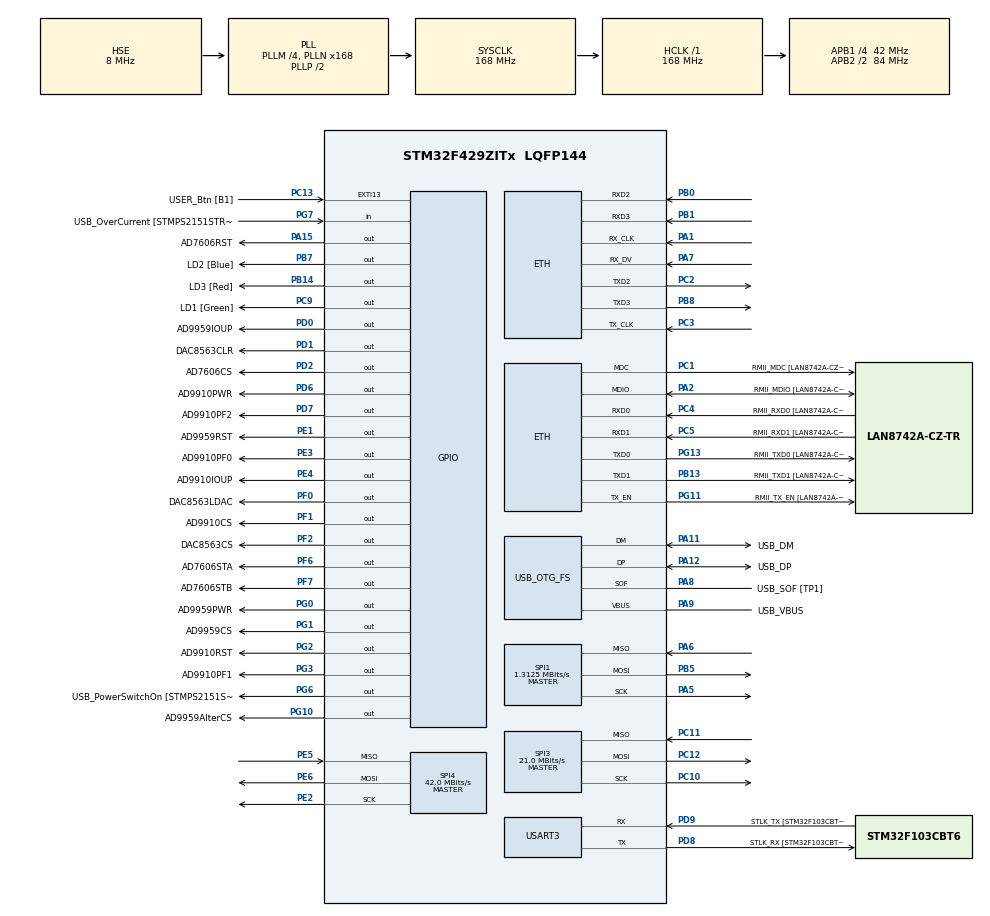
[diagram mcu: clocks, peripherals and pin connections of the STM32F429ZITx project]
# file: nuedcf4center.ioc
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ETH.MediaInterface=ETH_MEDIA_INTERFACE_MII
ETH.PHY_Name=LAN8742A_PHY_ADDRESS
ETH.PHY_Value=0
ETH.PhyAddress=0
Mcu.Family=STM32F4
Mcu.Name=STM32F429ZITx
Mcu.Package=LQFP144
NVIC.PriorityGroup=NVIC_PRIORITYGROUP_4
PA1.Mode=MII Full Duplex Only
PA1.Signal=ETH_RX_CLK
PA10.GPIO_Label=USB_ID
PA10.Signal=USB_OTG_FS_ID
PA11.GPIO_Label=USB_DM
PA11.Mode=Device_Only
PA11.Signal=USB_OTG_FS_DM
PA12.GPIO_Label=USB_DP
PA12.Mode=Device_Only
PA12.Signal=USB_OTG_FS_DP
PA13.GPIO_Label=TMS
PA13.Mode=Serial_Wire
PA13.Signal=SYS_JTMS-SWDIO
PA14.GPIO_Label=TCK
PA14.Mode=Serial_Wire
PA14.Signal=SYS_JTCK-SWCLK
PA15.GPIO_Label=AD7606RST
PA15.Signal=GPIO_Output
PA2.GPIO_Label=RMII_MDIO [LAN8742A-CZ-TR_MDIO]
PA2.Mode=MII Full Duplex Only
PA2.Signal=ETH_MDIO
PA5.Mode=Full_Duplex_Master
PA5.Signal=SPI1_SCK
PA6.Mode=Full_Duplex_Master
PA6.Signal=SPI1_MISO
PA7.Mode=MII Full Duplex Only
PA7.Signal=ETH_RX_DV
PA8.GPIO_Label=USB_SOF [TP1]
PA8.Mode=Activate_SOF_FS
PA8.Signal=USB_OTG_FS_SOF
PA9.GPIO_Label=USB_VBUS
PA9.Mode=Activate_VBUS
PA9.Signal=USB_OTG_FS_VBUS
PB0.Mode=MII Full Duplex Only
PB0.Signal=ETH_RXD2
PB1.Mode=MII Full Duplex Only
PB1.Signal=ETH_RXD3
PB13.GPIO_Label=RMII_TXD1 [LAN8742A-CZ-TR_TXD1]
PB13.Mode=MII Full Duplex Only
PB13.Signal=ETH_TXD1
PB14.GPIO_Label=LD3 [Red]
PB14.Signal=GPIO_Output
PB5.Mode=Full_Duplex_Master
PB5.Signal=SPI1_MOSI
PB7.GPIO_Label=LD2 [Blue]
PB7.Signal=GPIO_Output
PB8.Mode=MII Full Duplex Only
PB8.Signal=ETH_TXD3
PC1.GPIO_Label=RMII_MDC [LAN8742A-CZ-TR_MDC]
PC1.Mode=MII Full Duplex Only
PC1.Signal=ETH_MDC
PC10.Mode=Full_Duplex_Master
PC10.Signal=SPI3_SCK
PC11.Mode=Full_Duplex_Master
PC11.Signal=SPI3_MISO
PC12.Mode=Full_Duplex_Master
PC12.Signal=SPI3_MOSI
PC13.GPIO_Label=USER_Btn [B1]
PC13.Signal=GPXTI13
PC14/OSC32_IN.Mode=LSE-External-Oscillator
PC14/OSC32_IN.Signal=RCC_OSC32_IN
PC15/OSC32_OUT.Mode=LSE-External-Oscillator
PC15/OSC32_OUT.Signal=RCC_OSC32_OUT
PC2.Mode=MII Full Duplex Only
PC2.Signal=ETH_TXD2
PC3.Mode=MII Full Duplex Only
PC3.Signal=ETH_TX_CLK
PC4.GPIO_Label=RMII_RXD0 [LAN8742A-CZ-TR_RXD0]
PC4.Mode=MII Full Duplex Only
PC4.Signal=ETH_RXD0
PC5.GPIO_Label=RMII_RXD1 [LAN8742A-CZ-TR_RXD1]
PC5.Mode=MII Full Duplex Only
PC5.Signal=ETH_RXD1
PC9.GPIO_Label=LD1 [Green]
PC9.Signal=GPIO_Output
PD0.GPIO_Label=AD9959IOUP
PD0.Signal=GPIO_Output
PD1.GPIO_Label=DAC8563CLR
PD1.Signal=GPIO_Output
PD2.GPIO_Label=AD7606CS
PD2.Signal=GPIO_Output
PD6.GPIO_Label=AD9910PWR
PD6.Signal=GPIO_Output
PD7.GPIO_Label=AD9910PF2
PD7.Signal=GPIO_Output
PD8.GPIO_Label=STLK_RX [STM32F103CBT6_PA3]
PD8.Mode=Asynchronous
PD8.Signal=USART3_TX
PD9.GPIO_Label=STLK_TX [STM32F103CBT6_PA2]
PD9.Mode=Asynchronous
PD9.Signal=USART3_RX
PE1.GPIO_Label=AD9959RST
PE1.Signal=GPIO_Output
PE2.Mode=Full_Duplex_Master
PE2.Signal=SPI4_SCK
PE3.GPIO_Label=AD9910PF0
PE3.Signal=GPIO_Output
PE4.GPIO_Label=AD9910IOUP
PE4.Signal=GPIO_Output
PE5.Mode=Full_Duplex_Master
PE5.Signal=SPI4_MISO
PE6.Mode=Full_Duplex_Master
PE6.Signal=SPI4_MOSI
PF0.GPIO_Label=DAC8563LDAC
PF0.Signal=GPIO_Output
PF1.GPIO_Label=AD9910CS
PF1.Signal=GPIO_Output
PF2.GPIO_Label=DAC8563CS
PF2.Signal=GPIO_Output
PF6.GPIO_Label=AD7606STA
PF6.Signal=GPIO_Output
PF7.GPIO_Label=AD7606STB
PF7.Signal=GPIO_Output
PG0.GPIO_Label=AD9959PWR
PG0.Signal=GPIO_Output
PG1.GPIO_Label=AD9959CS
PG1.Signal=GPIO_Output
PG10.GPIO_Label=AD9959AlterCS
PG10.Signal=GPIO_Output
PG11.GPIO_Label=RMII_TX_EN [LAN8742A-CZ-TR_TXEN]
PG11.Mode=MII Full Duplex Only
PG11.Signal=ETH_TX_EN
PG13.GPIO_Label=RMII_TXD0 [LAN8742A-CZ-TR_TXD0]
PG13.Mode=MII Full Duplex Only
PG13.Signal=ETH_TXD0
PG2.GPIO_Label=AD9910RST
PG2.Signal=GPIO_Output
PG3.GPIO_Label=AD9910PF1
PG3.Signal=GPIO_Output
PG6.GPIO_Label=USB_PowerSwitchOn [STMPS2151STR_EN]
PG6.Signal=GPIO_Output
PG7.GPIO_Label=USB_OverCurrent [STMPS2151STR_FAULT]
PG7.Signal=GPIO_Input
PH0/OSC_IN.GPIO_Label=MCO [STM32F103CBT6_PA8]
PH0/OSC_IN.Mode=HSE-External-Clock-Source
PH0/OSC_IN.Signal=RCC_OSC_IN
PH1/OSC_OUT.Mode=HSE-External-Clock-Source
PH1/OSC_OUT.Signal=RCC_OSC_OUT
ProjectManager.HeapSize=0x200
ProjectManager.StackSize=0x400
ProjectManager.TargetToolchain=TrueSTUDIO
RCC.48MHZClocksFreq_Value=48000000
RCC.AHBFreq_Value=168000000
RCC.APB1CLKDivider=RCC_HCLK_DIV4
RCC.APB1Freq_Value=42000000
RCC.APB1TimFreq_Value=84000000
RCC.APB2CLKDivider=RCC_HCLK_DIV2
RCC.APB2Freq_Value=84000000
RCC.APB2TimCLKDivider=2
RCC.APB2TimFreq_Value=168000000
RCC.CortexFreq_Value=168000000
RCC.HCLKFreq_Value=168000000
RCC.HSE_VALUE=8000000
RCC.HSI_VALUE=16000000
RCC.PLLM=4
RCC.PLLMUL=RCC_PLL_MUL9
RCC.PLLN=168
RCC.PLLQ=7
RCC.PRESCALERUSB=RCC_USBCLKSOURCE_PLL_DIV1_5
RCC.SYSCLKFreq_VALUE=168000000
RCC.SYSCLKSource=RCC_SYSCLKSOURCE_PLLCLK
RCC.SYSCLKSourceVirtual=RCC_SYSCLKSOURCE_PLLCLK
RCC.USBFreq_Value=48000000
RCC.VCOOutputFreq_Value=336000000
SPI1.BaudRatePrescaler=SPI_BAUDRATEPRESCALER_64
SPI1.CLKPhase=SPI_PHASE_1EDGE
SPI1.CalculateBaudRate=1.3125 MBits/s
SPI1.Direction=SPI_DIRECTION_2LINES
SPI1.Mode=SPI_MODE_MASTER
SPI1.VirtualType=VM_MASTER
SPI3.CalculateBaudRate=21.0 MBits/s
SPI3.Direction=SPI_DIRECTION_2LINES
SPI3.Mode=SPI_MODE_MASTER
SPI3.VirtualType=VM_MASTER
SPI4.CalculateBaudRate=42.0 MBits/s
SPI4.Direction=SPI_DIRECTION_2LINES
SPI4.Mode=SPI_MODE_MASTER
SPI4.VirtualType=VM_MASTER
USART3.VirtualMode=VM_ASYNC
USB_OTG_FS.VirtualMode=Device_Only
board=NUCLEO-F429ZI

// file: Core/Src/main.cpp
/* USER CODE BEGIN Header */
/**
  ******************************************************************************
  * @file           : main.c
  * @brief          : Main program body
  ******************************************************************************
  * @attention
  *
  * <h2><center>&copy; Copyright (c) 2019 STMicroelectronics.
  * All rights reserved.</center></h2>
  *
  * This software component is licensed by ST under BSD 3-Clause license,
  * the "License"; You may not use this file except in compliance with the
  * License. You may obtain a copy of the License at:
  *                        opensource.org/licenses/BSD-3-Clause
  *
  ******************************************************************************
  */
/* USER CODE END Header */

#include "main.h"
#include "eth.h"
#include "spi.h"
#include "usart.h"
#include "usb_otg.h"
#include "gpio.h"

/* USER CODE BEGIN Includes */
#include "GPIOBridge.h"
#include "SPIBridge.h"
#include "AD7606Driver.hpp"
#include "AD9910Driver.hpp"
#include "DAC8563Driver.hpp"
#include "AD9959Driver.hpp"
#include <cstdio>

/* USER CODE END Includes */

/* USER CODE BEGIN PD */
extern SPI_HandleTypeDef hspi1;

/* USER CODE END PD */

void SystemClock_Config(void);

int main(void)
{

  /* MCU Configuration--------------------------------------------------------*/

  /* Reset of all peripherals, Initializes the Flash interface and the Systick. */
  HAL_Init();

  /* Configure the system clock */
  SystemClock_Config();

  /* Initialize all configured peripherals */
  MX_GPIO_Init();
  MX_ETH_Init();
  MX_USART3_UART_Init();
  MX_USB_OTG_FS_PCD_Init();
  MX_SPI1_Init();
  MX_SPI3_Init();
  MX_SPI4_Init();
  /* USER CODE BEGIN 2 */
  auto hGPIOA = new HALF1Bridge(GPIOA);
  auto hGPIOB = new HALF1Bridge(GPIOB);
  auto hGPIOC = new HALF1Bridge(GPIOC);
  auto hGPIOD = new HALF1Bridge(GPIOD);
  auto hGPIOE = new HALF1Bridge(GPIOE);
  auto hGPIOF = new HALF1Bridge(GPIOF);
  auto hGPIOG = new HALF1Bridge(GPIOG);
  auto hSPI1 = new HALF1SPIBridge(&hspi1);

  IGPIOPin<uint16_t> PinCfgAD7606[4]={
		  IGPIOPin<uint16_t>(hGPIOD,2),
		  IGPIOPin<uint16_t>(hGPIOA,13),
		  IGPIOPin<uint16_t>(hGPIOF,6),
		  IGPIOPin<uint16_t>(hGPIOF,7),
  };

  IGPIOPin<uint16_t> PinCfgAD9910[7]={
		  IGPIOPin<uint16_t>(hGPIOF,1),
		  IGPIOPin<uint16_t>(hGPIOE,3),
		  IGPIOPin<uint16_t>(hGPIOG,3),
		  IGPIOPin<uint16_t>(hGPIOD,7),
		  IGPIOPin<uint16_t>(hGPIOE,4),
		  IGPIOPin<uint16_t>(hGPIOD,6),
		  IGPIOPin<uint16_t>(hGPIOG,2),
  };

  IGPIOPin<uint16_t> PinCfgDAC8563[3]={
		  IGPIOPin<uint16_t>(hGPIOF,2),
		  IGPIOPin<uint16_t>(hGPIOF,0),
		  IGPIOPin<uint16_t>(hGPIOD,1),
  };

  //CS-IOUP-PWR-RST
  IGPIOPin<uint16_t> PinCfgAD9959[4]={
		  IGPIOPin<uint16_t>(hGPIOG,10),
		  IGPIOPin<uint16_t>(hGPIOD,0),
		  IGPIOPin<uint16_t>(hGPIOG,0),
		  IGPIOPin<uint16_t>(hGPIOE,1),
  };

  uint8_t db[4];
  auto hAD7606 = AD7606Driver<uint16_t>(hSPI1,PinCfgAD7606);
  auto hAD9910 = AD9910Driver<uint16_t>(hSPI1,PinCfgAD9910);
  auto hDAC8563 = DAC8563Driver<uint16_t> (hSPI1,PinCfgDAC8563);
  auto hAD9959 = AD9959Driver<uint16_t> (hSPI1,PinCfgAD9959);
//  hAD9910.Init();
//  hDAC8563.Init();
  hAD9959.Init();

//  hAD9910.setSingleTuneOutput()tput(0x3fff,233333333);
  uint8_t a[4];

  /* USER CODE END 2 */

  /* Infinite loop */
  /* USER CODE BEGIN WHILE */
  while (1)
  {
	  hAD9959.setSingleOutput(0x9FFFFFFF);
	  HAL_Delay(1000);
	  hAD9959.ReadRegister(AD9959Driver<uint16_t>::AD9959CFR,3,a);
	  HAL_Delay(1000);
    /* USER CODE END WHILE */
//	  hAD9910.ReadRegister(0x01, 4, db);
//	  for (auto &i : db)
//		  printf("0x%x\n", i);
//	  HAL_Delay(1000);
//	  auto a = hAD7606.ReadAllChannels();
//	  for(auto &i :a)
//		  printf("%d, ",i);
//
//	  printf("\n");

//	  hDAC8563.setDualChannelValue(2.23);
//	  HAL_Delay(1000);
//
//	  hAD9910.ReadRegister(0x01, 4, db);
//	  for (auto &i : db)
//		  printf("0x%x\n", i);
//

  }
}

void SystemClock_Config(void)
{
  RCC_OscInitTypeDef RCC_OscInitStruct = {0};
  RCC_ClkInitTypeDef RCC_ClkInitStruct = {0};

  /** Configure the main internal regulator output voltage
  */
  __HAL_RCC_PWR_CLK_ENABLE();
  __HAL_PWR_VOLTAGESCALING_CONFIG(PWR_REGULATOR_VOLTAGE_SCALE1);
  /** Initializes the CPU, AHB and APB busses clocks
  */
  RCC_OscInitStruct.OscillatorType = RCC_OSCILLATORTYPE_HSE;
  RCC_OscInitStruct.HSEState = RCC_HSE_BYPASS;
  RCC_OscInitStruct.PLL.PLLState = RCC_PLL_ON;
  RCC_OscInitStruct.PLL.PLLSource = RCC_PLLSOURCE_HSE;
  RCC_OscInitStruct.PLL.PLLM = 4;
  RCC_OscInitStruct.PLL.PLLN = 168;
  RCC_OscInitStruct.PLL.PLLP = RCC_PLLP_DIV2;
  RCC_OscInitStruct.PLL.PLLQ = 7;
  if (HAL_RCC_OscConfig(&RCC_OscInitStruct) != HAL_OK)
  {
    Error_Handler();
  }
  /** Initializes the CPU, AHB and APB busses clocks
  */
  RCC_ClkInitStruct.ClockType = RCC_CLOCKTYPE_HCLK|RCC_CLOCKTYPE_SYSCLK
                              |RCC_CLOCKTYPE_PCLK1|RCC_CLOCKTYPE_PCLK2;
  RCC_ClkInitStruct.SYSCLKSource = RCC_SYSCLKSOURCE_PLLCLK;
  RCC_ClkInitStruct.AHBCLKDivider = RCC_SYSCLK_DIV1;
  RCC_ClkInitStruct.APB1CLKDivider = RCC_HCLK_DIV4;
  RCC_ClkInitStruct.APB2CLKDivider = RCC_HCLK_DIV2;

  if (HAL_RCC_ClockConfig(&RCC_ClkInitStruct, FLASH_LATENCY_5) != HAL_OK)
  {
    Error_Handler();
  }
}

void Error_Handler(void)
{
}

/************************ (C) COPYRIGHT STMicroelectronics *****END OF FILE****/
